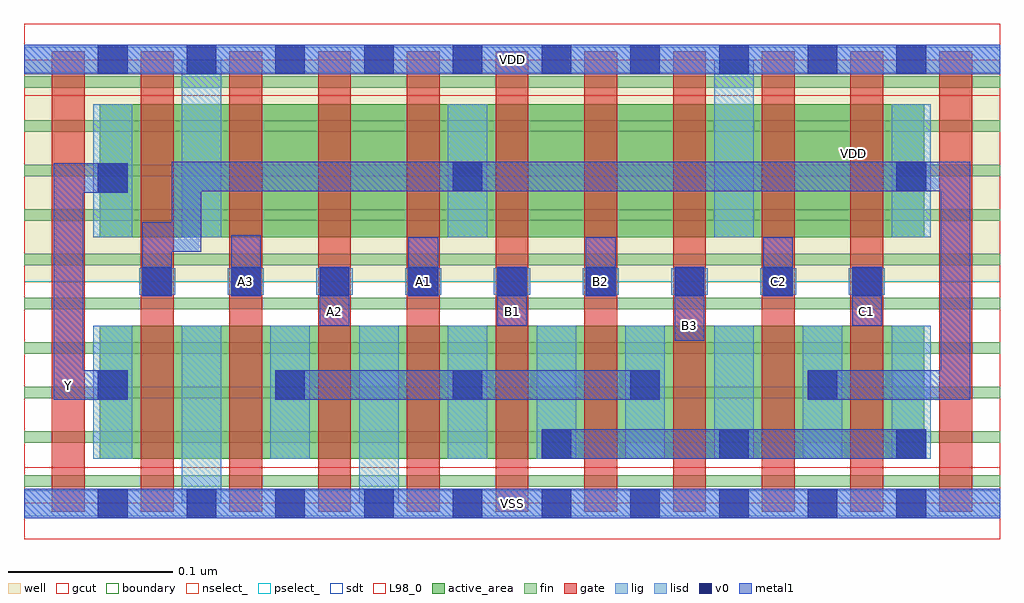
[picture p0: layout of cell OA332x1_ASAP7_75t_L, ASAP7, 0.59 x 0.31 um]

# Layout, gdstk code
import gdstk
lib = gdstk.Library(unit=1e-6, precision=2.5e-10)
def R(c, l, rs):  # rectangles x0, y0, x1, y1
    for r in rs: c.add(gdstk.rectangle(r[:2], r[2:], *l))
def A(c, l, x, y, w, h, nx, ny, dx, dy):  # array of equal rectangles
    R(c, l, [(x+i*dx, y+j*dy, x+i*dx+w, y+j*dy+h) for i in range(nx) for j in range(ny)])
def P(c, l, *ps):  # polygons
    for p in ps: c.add(gdstk.Polygon(p, *l))
well = (1, 0)
fin = (2, 0)
gate = (7, 0)
gcut = (10, 0)
active_area = (11, 0)
nselect_ = (12, 0)
pselect_ = (13, 0)
lig = (16, 0)
lisd = (17, 0)
v0 = (18, 0)
metal1 = (19, 0)
sdt = (88, 0)
L98_0 = (98, 0)
boundary = (100, 0)

oa332x1_asap7_75t_l = lib.new_cell('OA332x1_ASAP7_75t_L')
R(oa332x1_asap7_75t_l, well, [(0,0.135,0.594,0.27)])
A(oa332x1_asap7_75t_l, fin, 0, 0.01, 0.594, 0.007, 1, 10, 0, 0.027)
A(oa332x1_asap7_75t_l, gate, 0.017, -0.005, 0.02, 0.28, 11, 1, 0.054, 0)
R(oa332x1_asap7_75t_l, gcut, [(0,-0.022,0.594,0.022), (0,0.248,0.594,0.292)])
R(oa332x1_asap7_75t_l, active_area, [(0.046,0.027,0.548,0.108), (0.046,0.162,0.548,0.243)])
R(oa332x1_asap7_75t_l, nselect_, [(0,0,0.594,0.135)])
R(oa332x1_asap7_75t_l, pselect_, [(0,0.135,0.594,0.27)])
A(oa332x1_asap7_75t_l, lig, 0.07, 0.127, 0.022, 0.016, 9, 1, 0.054, 0)
R(oa332x1_asap7_75t_l, lig, [(0,-0.008,0.594,0.008), (0,0.262,0.594,0.278)])
A(oa332x1_asap7_75t_l, lisd, 0.042, 0.027, 0.024, 0.081, 3, 1, 0.108, 0)
A(oa332x1_asap7_75t_l, lisd, 0.312, 0.027, 0.024, 0.081, 5, 1, 0.054, 0)
R(oa332x1_asap7_75t_l, lisd, [(0.096,0,0.12,0.108), (0.204,0,0.228,0.108), (0.042,0.162,0.066,0.243), (0.096,0.162,0.12,0.27), (0.258,0.162,0.282,0.243), (0.42,0.162,0.444,0.27), (0.528,0.162,0.552,0.243)])
A(oa332x1_asap7_75t_l, v0, 0.045, -0.009, 0.018, 0.018, 10, 2, 0.054, 0.27)
A(oa332x1_asap7_75t_l, v0, 0.315, 0.027, 0.018, 0.018, 3, 1, 0.108, 0)
A(oa332x1_asap7_75t_l, v0, 0.045, 0.063, 0.018, 0.018, 5, 1, 0.108, 0)
A(oa332x1_asap7_75t_l, v0, 0.072, 0.126, 0.018, 0.018, 9, 1, 0.054, 0)
R(oa332x1_asap7_75t_l, v0, [(0.045,0.189,0.063,0.207), (0.261,0.19,0.279,0.208), (0.531,0.19,0.549,0.208)])
A(oa332x1_asap7_75t_l, metal1, 0.234, 0.126, 0.018, 0.036, 3, 1, 0.108, 0)
R(oa332x1_asap7_75t_l, metal1, [(0,-0.009,0.594,0.009), (0.315,0.027,0.549,0.045), (0.153,0.063,0.387,0.081), (0.396,0.099,0.414,0.144), (0.18,0.108,0.198,0.144), (0.288,0.108,0.306,0.144), (0.504,0.108,0.522,0.144), (0.126,0.126,0.144,0.163), (0,0.261,0.594,0.279)])
P(oa332x1_asap7_75t_l, metal1, [(0.018,0.063),(0.018,0.207),(0.063,0.207),(0.063,0.189),(0.036,0.189),(0.036,0.081),(0.063,0.081),(0.063,0.063)],
  [(0.477,0.063),(0.477,0.081),(0.558,0.081),(0.558,0.19),(0.108,0.19),(0.108,0.153),(0.09,0.153),(0.09,0.126),(0.072,0.126),(0.072,0.171),(0.09,0.171),(0.09,0.208),(0.576,0.208),(0.576,0.063)])
A(oa332x1_asap7_75t_l, sdt, 0.042, 0.027, 0.024, 0.081, 10, 1, 0.054, 0)
A(oa332x1_asap7_75t_l, sdt, 0.096, 0.162, 0.024, 0.081, 3, 1, 0.162, 0)
R(oa332x1_asap7_75t_l, sdt, [(0.042,0.162,0.066,0.243), (0.528,0.162,0.552,0.243)])
R(oa332x1_asap7_75t_l, L98_0, [(0,0,0.594,0.27)])
R(oa332x1_asap7_75t_l, boundary, [(0,0,0.594,0.27)])
oa332x1_asap7_75t_l.add(gdstk.Label('Y', (0.027,0.072), layer=19, texttype=251))
oa332x1_asap7_75t_l.add(gdstk.Label('C2', (0.459,0.135), layer=19, texttype=251))
oa332x1_asap7_75t_l.add(gdstk.Label('C1', (0.513,0.117), layer=19, texttype=251))
oa332x1_asap7_75t_l.add(gdstk.Label('B3', (0.405,0.108), layer=19, texttype=251))
oa332x1_asap7_75t_l.add(gdstk.Label('B2', (0.351,0.135), layer=19, texttype=251))
oa332x1_asap7_75t_l.add(gdstk.Label('B1', (0.297,0.117), layer=19, texttype=251))
oa332x1_asap7_75t_l.add(gdstk.Label('A3', (0.135,0.135), layer=19, texttype=251))
oa332x1_asap7_75t_l.add(gdstk.Label('A2', (0.189,0.117), layer=19, texttype=251))
oa332x1_asap7_75t_l.add(gdstk.Label('A1', (0.243,0.135), layer=19, texttype=251))
oa332x1_asap7_75t_l.add(gdstk.Label('VSS', (0.297,0), layer=19, texttype=251))
oa332x1_asap7_75t_l.add(gdstk.Label('VDD', (0.297,0.27), layer=19, texttype=251))
oa332x1_asap7_75t_l.add(gdstk.Label('VDD', (0.505,0.213), layer=1, texttype=251))
oa332x1_asap7_75t_l.add(gdstk.Label('VSS', (0.683,0.213), layer=3, texttype=251))

lib.write_gds('OA332x1_ASAP7_75t_L.gds')
